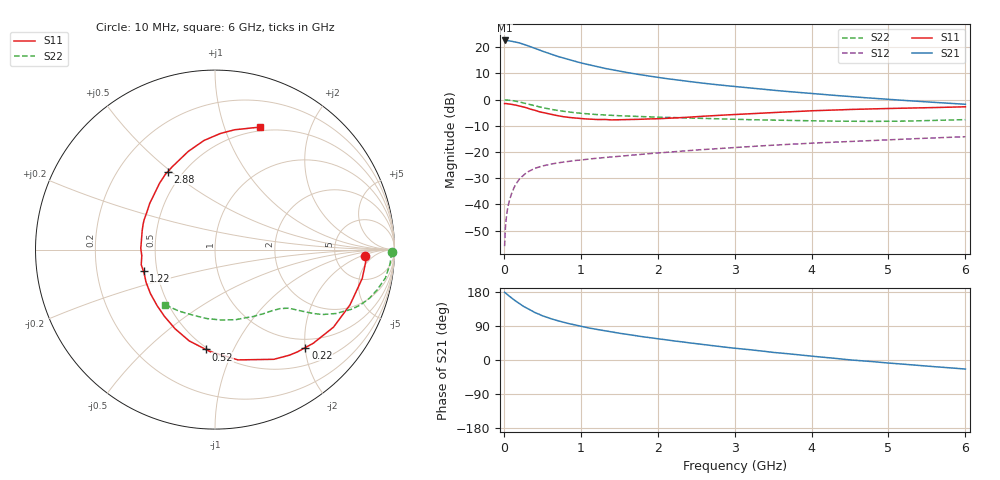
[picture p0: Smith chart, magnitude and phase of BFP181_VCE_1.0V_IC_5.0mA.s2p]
! Infineon Technologies  Discrete & RF Semiconductors
! BFP181
! VCE = 1.0 V,  IC =  5.0 mA
! Common Emitter S-Parameters:  Jan 2016
# GHz  S  MA  R  50
!  f  S11  S21  S12  S22
! GHz  MAG  ANG  MAG  ANG  MAG  ANG  MAG  ANG
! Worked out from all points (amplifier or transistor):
!   210 points, 10 MHz to 6 GHz, reference 50 ohm
!   highest |S21| = 22.5 dB at 10 MHz (marker M1)
!   |S21| within 3 dB of that: start of sweep to 405 MHz
!   unconditionally stable (mu >= 1): 1.359 GHz to end of sweep
!   at 185 MHz: K = 0.20, MSG = 26.4 dB, |S12| = -31.0 dB
!   at 1.52 GHz: K = 1.06, MAG = 14.7 dB, |S12| = -21.6 dB
!   at 6 GHz: K = 1.12, MAG = 4.1 dB, |S12| = -14.2 dB
!   S11 on the Smith chart (normalised r, x): 10 MHz: 11, -3; 220 MHz: 0.82, -2.01; 520 MHz: 0.49, -0.79; 1.22 GHz: 0.42, -0.12; 2.88 GHz: 0.42, +0.49; 6 GHz: 0.46, +1.33
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0.01  0.8377 -2.4  13.41 178.5  0.0016 83.9  0.984 -0.9
0.02  0.8425 -4.7  13.39 177.2  0.0035 87.5  0.9831 -1.9
0.04  0.8369 -9.0  13.34 173.6  0.0069 87.2  0.9794 -3.8
0.115  0.8025 -25.5  12.8 161.5  0.0182 75.0  0.9535 -10.6
0.17  0.773 -37.3  12.32 153.2  0.0262 69.9  0.921 -15.1
0.22  0.7426 -47.3  11.79 146.2  0.0323 65.6  0.8879 -18.8
0.26  0.7198 -54.8  11.28 141.0  0.0366 61.7  0.8589 -21.4
0.3  0.6936 -61.8  10.79 136.6  0.0409 58.7  0.83 -23.6
0.4  0.6278 -78.2  9.555 125.6  0.0486 53.1  0.7632 -27.8
0.52  0.5586 -95.2  8.212 115.5  0.0549 47.5  0.6945 -31.3
0.6  0.5286 -105.8  7.509 109.6  0.0584 45.1  0.6561 -32.9
0.7  0.494 -116.8  6.66 103.6  0.062 42.8  0.6191 -34.3
0.8  0.4657 -127.5  6.048 98.1  0.065 41.1  0.5906 -35.4
1.02  0.4326 -147.3  4.934 88.0  0.0709 38.9  0.5446 -37.5
1.22  0.4163 -163.1  4.215 80.4  0.0761 37.6  0.517 -39.2
1.52  0.4131 177.9  3.456 70.1  0.0835 37.0  0.4902 -42.1
2.02  0.4321 152.1  2.618 55.6  0.0965 35.8  0.4619 -48.1
2.88  0.5078 121.1  1.848 33.9  0.1185 32.3  0.4256 -61.7
3.1  0.5264 114.9  1.717 29.2  0.1243 31.2  0.4165 -65.7
4.1  0.6174 94.0  1.271 8.2  0.1497 25.3  0.3913 -87.1
5.1  0.6805 79.5  0.987 -9.5  0.1728 19.2  0.3865 -111.0
6  0.7281 69.7  0.813 -23.9  0.1955 13.0  0.4146 -132.3
